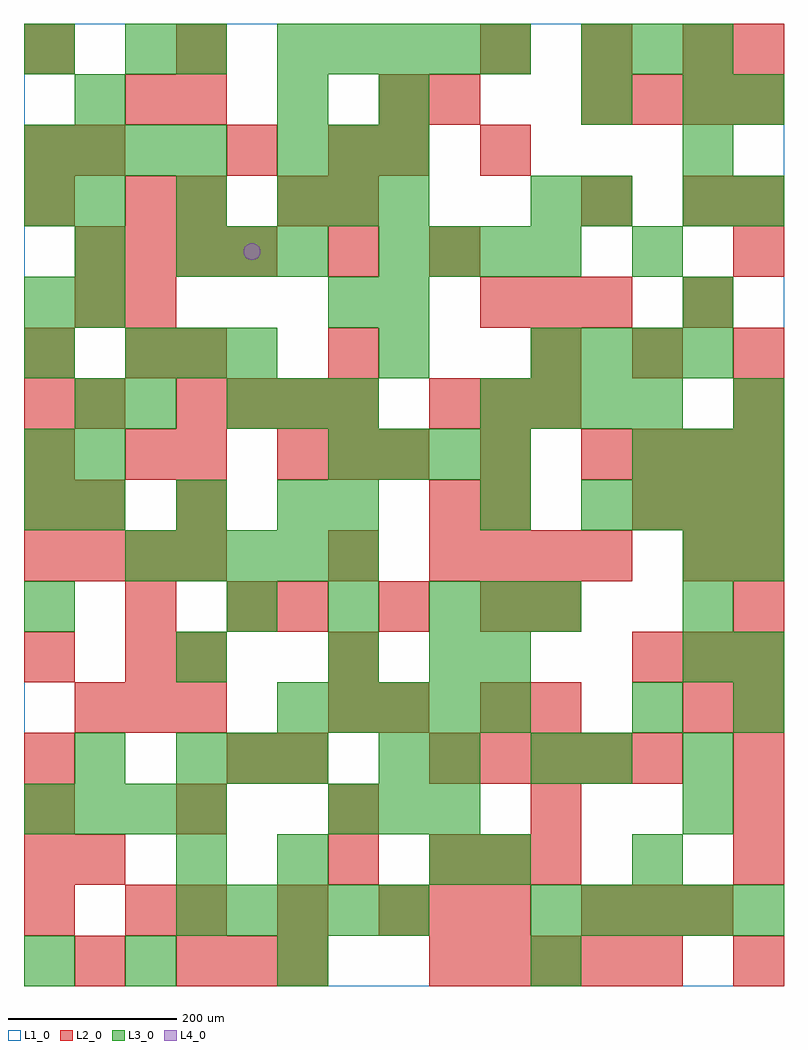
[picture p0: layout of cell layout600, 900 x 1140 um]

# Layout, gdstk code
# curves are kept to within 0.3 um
import gdstk
lib = gdstk.Library(unit=1e-6, precision=1e-09)
def R(c, l, rs):  # rectangles x0, y0, x1, y1
    for r in rs: c.add(gdstk.rectangle(r[:2], r[2:], *l))
def A(c, l, x, y, w, h, nx, ny, dx, dy):  # array of equal rectangles
    R(c, l, [(x+i*dx, y+j*dy, x+i*dx+w, y+j*dy+h) for i in range(nx) for j in range(ny)])
def P(c, l, *ps):  # polygons
    for p in ps: c.add(gdstk.Polygon(p, *l))
L1_0 = (1, 0)
L2_0 = (2, 0)
L3_0 = (3, 0)
L4_0 = (4, 0)

layout600 = lib.new_cell('layout600')
R(layout600, L1_0, [(0,0,900,1140)])
A(layout600, L2_0, 180, 0, 60, 60, 3, 1, 60, 0)
A(layout600, L2_0, 480, 0, 60, 60, 5, 2, 60, 240)
A(layout600, L2_0, 180, 60, 60, 60, 3, 1, 120, 0)
A(layout600, L2_0, 540, 60, 60, 60, 1, 3, 0, 240)
A(layout600, L2_0, 660, 60, 60, 60, 3, 1, 60, 0)
A(layout600, L2_0, 0, 120, 60, 60, 1, 3, 0, 120)
A(layout600, L2_0, 480, 120, 60, 60, 3, 2, 60, 540)
A(layout600, L2_0, 840, 120, 60, 60, 1, 4, 0, 60)
A(layout600, L2_0, 0, 180, 60, 60, 3, 1, 180, 0)
A(layout600, L2_0, 600, 180, 60, 60, 1, 3, 0, 120)
A(layout600, L2_0, 60, 300, 60, 60, 3, 1, 60, 0)
A(layout600, L2_0, 720, 360, 60, 60, 3, 2, 60, 180)
A(layout600, L2_0, 300, 420, 60, 60, 3, 1, 120, 0)
A(layout600, L2_0, 0, 480, 60, 60, 4, 1, 60, 0)
A(layout600, L2_0, 480, 480, 60, 60, 4, 1, 60, 0)
A(layout600, L2_0, 840, 480, 60, 60, 1, 3, 0, 180)
A(layout600, L2_0, 0, 540, 60, 60, 1, 4, 0, 60)
A(layout600, L2_0, 60, 540, 60, 60, 1, 3, 0, 120)
A(layout600, L2_0, 300, 600, 60, 60, 3, 1, 60, 0)
A(layout600, L2_0, 660, 600, 60, 60, 4, 2, 60, 420)
A(layout600, L2_0, 180, 660, 60, 60, 4, 1, 60, 0)
A(layout600, L2_0, 600, 720, 60, 60, 3, 1, 120, 0)
A(layout600, L2_0, 120, 780, 60, 60, 1, 3, 0, 120)
A(layout600, L2_0, 540, 780, 60, 60, 3, 1, 60, 0)
A(layout600, L2_0, 60, 840, 60, 60, 4, 1, 60, 0)
A(layout600, L2_0, 360, 840, 60, 60, 1, 3, 0, 60)
A(layout600, L2_0, 540, 1080, 60, 60, 3, 1, 120, 0)
R(layout600, L2_0, [(60,0,120,60), (840,0,900,60), (0,60,60,120), (120,60,180,120), (480,60,540,120), (60,120,120,180), (360,120,420,180), (240,240,300,300), (300,240,360,300), (360,300,420,360), (420,300,480,360), (780,300,840,360), (120,360,180,420), (180,360,240,420), (360,360,420,420), (120,420,180,480), (240,420,300,480), (840,420,900,480), (360,480,420,540), (780,480,840,540), (180,540,240,600), (480,540,540,600), (120,600,180,660), (180,600,240,660), (540,600,600,660), (120,720,180,780), (180,720,240,780), (360,720,420,780), (780,780,840,840), (480,840,540,900), (0,900,60,960), (180,900,240,960), (300,900,360,960), (660,900,720,960), (780,900,840,960), (840,900,900,960), (0,960,60,1020), (60,960,120,1020), (240,960,300,1020), (420,960,480,1020), (540,960,600,1020), (180,1020,240,1080), (420,1020,480,1080), (480,1020,540,1080), (0,1080,60,1140), (180,1080,240,1140), (840,1080,900,1140)])
A(layout600, L3_0, 180, 60, 60, 60, 5, 1, 60, 0)
A(layout600, L3_0, 600, 60, 60, 60, 5, 1, 60, 0)
A(layout600, L3_0, 480, 120, 60, 60, 1, 3, 0, 120)
A(layout600, L3_0, 0, 180, 60, 60, 4, 2, 60, 780)
A(layout600, L3_0, 360, 180, 60, 60, 3, 1, 60, 0)
A(layout600, L3_0, 180, 240, 60, 60, 3, 2, 60, 600)
A(layout600, L3_0, 300, 300, 60, 60, 5, 2, 60, 780)
A(layout600, L3_0, 780, 360, 60, 60, 1, 3, 0, 60)
A(layout600, L3_0, 240, 420, 60, 60, 3, 1, 120, 0)
A(layout600, L3_0, 120, 480, 60, 60, 5, 1, 60, 0)
A(layout600, L3_0, 60, 540, 60, 60, 3, 2, 120, 360)
A(layout600, L3_0, 660, 540, 60, 60, 4, 1, 60, 0)
A(layout600, L3_0, 360, 600, 60, 60, 4, 1, 60, 0)
A(layout600, L3_0, 720, 600, 60, 60, 3, 1, 60, 0)
A(layout600, L3_0, 240, 660, 60, 60, 3, 1, 60, 0)
A(layout600, L3_0, 540, 660, 60, 60, 4, 1, 60, 0)
A(layout600, L3_0, 120, 720, 60, 60, 3, 1, 60, 0)
A(layout600, L3_0, 600, 720, 60, 60, 4, 1, 60, 0)
A(layout600, L3_0, 420, 780, 60, 60, 1, 3, 0, 120)
A(layout600, L3_0, 420, 840, 60, 60, 4, 1, 60, 0)
A(layout600, L3_0, 780, 900, 60, 60, 1, 3, 0, 60)
A(layout600, L3_0, 300, 960, 60, 60, 3, 1, 60, 0)
A(layout600, L3_0, 660, 1080, 60, 60, 3, 1, 60, 0)
R(layout600, L3_0, [(0,0,60,60), (120,0,180,60), (300,0,360,60), (600,0,660,60), (180,120,240,180), (300,120,360,180), (540,120,600,180), (720,120,780,180), (780,180,840,240), (60,240,120,300), (420,240,480,300), (600,240,660,300), (660,240,720,300), (780,240,840,300), (720,300,780,360), (840,300,900,360), (180,360,240,420), (360,360,420,420), (540,360,600,420), (840,360,900,420), (0,420,60,480), (540,420,600,480), (600,420,660,480), (840,480,900,540), (0,540,60,600), (360,540,420,600), (540,540,600,600), (0,600,60,660), (60,600,120,660), (60,660,120,720), (120,660,180,720), (840,660,900,720), (0,720,60,780), (420,720,480,780), (0,780,60,840), (60,780,120,840), (360,780,420,840), (780,780,840,840), (60,840,120,900), (720,840,780,900), (0,900,60,960), (360,900,420,960), (600,900,660,960), (660,900,720,960), (840,900,900,960), (60,1020,120,1080), (300,1020,360,1080), (660,1020,720,1080), (840,1020,900,1080), (0,1080,60,1140), (120,1080,180,1140), (180,1080,240,1140)])
P(layout600, L4_0, [(280,870),(279.239,873.827),(277.071,877.071),(273.827,879.239),(270,880),(266.173,879.239),(262.929,877.071),(260.761,873.827),(260,870),(260.761,866.173),(262.929,862.929),(266.173,860.761),(270,860),(273.827,860.761),(277.071,862.929),(279.239,866.173)])

lib.write_gds('layout600.gds')
